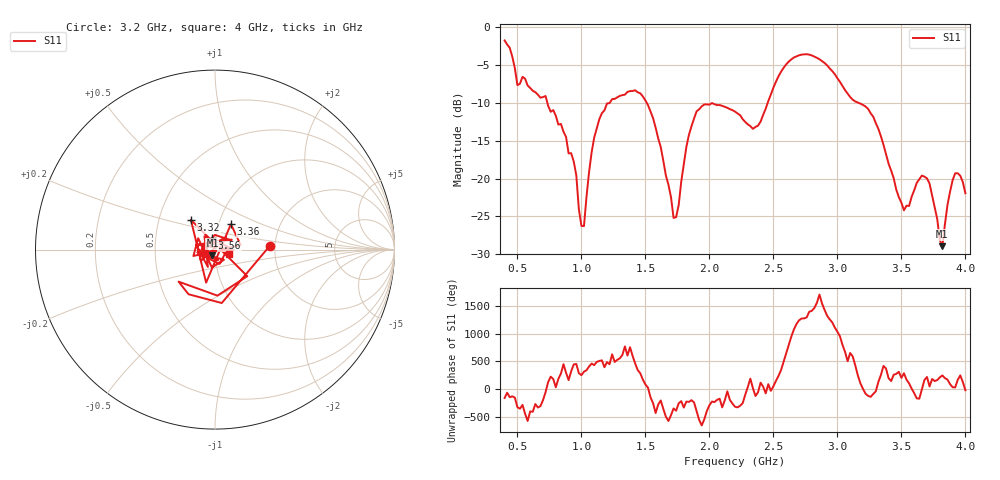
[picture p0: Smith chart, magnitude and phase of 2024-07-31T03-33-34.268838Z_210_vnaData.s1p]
!Created with skrf (http://scikit-rf.org).
# Hz S RI R 50.0
!freq ReS11 ImS11
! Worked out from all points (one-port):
!   181 points, 400 MHz to 4 GHz, reference 50 ohm
!   lowest |S11| = -28.9 dB at 3.82 GHz (marker M1), VSWR 1.07, Z = 48.5 - j3.18 ohm
!   |S11| at or under -10 dB: 734.4 MHz to 1.22 GHz (485.6 MHz wide, 49.7 % of centre); 1.511 GHz to 2.02 GHz (508.6 MHz wide, 28.8 % of centre); 3.169 GHz to end of sweep (the widest 3 of 4)
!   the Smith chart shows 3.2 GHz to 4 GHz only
!   S11 on the Smith chart (normalised r, x): 3.2 GHz: 1.88, +0.09; 3.32 GHz: 0.73, +0.25; 3.36 GHz: 1.14, +0.33; 3.56 GHz: 0.96, +0.12; 4 GHz: 1.16, -0.06
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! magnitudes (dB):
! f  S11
! 400 MHz  -1.7
! 500 MHz  -7.6
! 720 MHz  -9.1
! 860 MHz  -13.8
! 940 MHz  -17.7
! 1 GHz  -26.3
! 1.02 GHz  -26.3
! 1.1 GHz  -14.6
! 1.3 GHz  -9.1
! 1.52 GHz  -10.3
! 1.72 GHz  -25.2
! 1.76 GHz  -23.5
! 1.82 GHz  -15.8
! 1.9 GHz  -11.1
! 2.2 GHz  -11.1
! 2.38 GHz  -13.0
! 2.66 GHz  -4.0
! 2.86 GHz  -4.2
! 3.1 GHz  -9.2
! 3.2 GHz  -10.3
! 3.32 GHz  -13.4
! 3.36 GHz  -15.5
! 3.52 GHz  -24.2
! 3.56 GHz  -23.6
! 3.7 GHz  -20.0
! 3.82 GHz  -28.9
! 3.92 GHz  -19.3
! 4 GHz  -21.9
